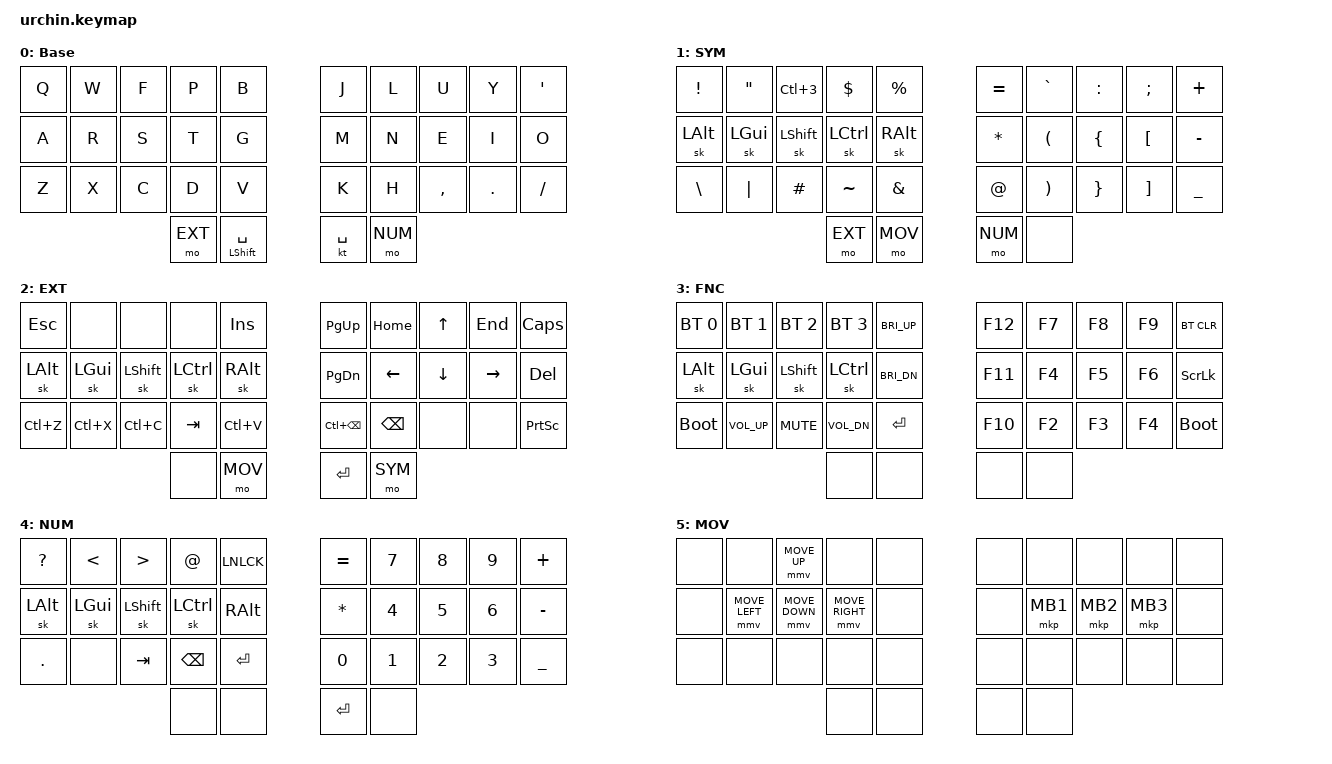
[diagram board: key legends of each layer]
/*
 * Copyright (c) 2020 duckyb
 *
 * SPDX-License-Identifier: MIT
 */

#include <behaviors.dtsi>
#include <dt-bindings/zmk/keys.h>
#include <dt-bindings/zmk/bt.h>
#include <dt-bindings/zmk/outputs.h>

#include <dt-bindings/zmk/mouse.h>

// Layer definitions
#define BASE 0    // ALPHA
#define SYM 1     // SYMBOL PRIMARY
#define EXT 2     // MODIFIERS | MOBILITY
#define FNC 3     // FUNCTIONS
#define NUM 4     // SYMBOL SECONDARY
#define MOV 5     // MOUSE MOVEMENTS


// ----------------------------------------------------------------------------------------------------
// Behaviours 
// ----------------------------------------------------------------------------------------------------

&sk {
	// don't release mods on other mods presses
	ignore-modifiers;
};

/ {
	behaviors {
		// Enables holding the first mod-tap key
		// by performing a tap-release-hold sequence.
		// To use it: "&qt KEYCODE1 KEYCODE2"
		qt: quick_tap {
			compatible = "zmk,behavior-hold-tap";
			label = "QUICK_TAP";
			#binding-cells = <2>;
			flavor = "hold-preferred";
			tapping-term-ms = <200>;
			quick-tap-ms = <200>;
			bindings = <&kp>, <&kp>;
		};
	};

	macros {
		// sometimes my device thinks a modifier is being held down
		// pressing all modifiers fixes it.
		unstick: unstick {
			label = "ZM_unstick";
			compatible = "zmk,behavior-macro";
			#binding-cells = <0>;
			bindings = <&kp LSHIFT &kp RSHIFT &kp LCTRL &kp RCTRL &kp LALT &kp RALT &kp LGUI &kp RGUI>;
		};
	};

	combos {
		compatible = "zmk,combos";
  
		// both left thumb keys
		combo_settings {
			timeout-ms = <200>;
			key-positions = <30 31>;
			bindings = <&mo FNC>;
		};
    
		// both right thumb keys
		combo_accent {
			timeout-ms = <200>;
			key-positions = <32 33>;
			bindings = <&mo SYM>;
		};

		// left-external & right-external thumb keys
		combo_sym2 {
			timeout-ms = <200>;
			key-positions = <30 33>;
			bindings = <&mo MOV>;
		};
	};

// Was in the Combo section
//
//		// left index & middle fingers (home-row)
//		// hold control & space for Adobe workflow
//		combo_ctrl_space {
//			timeout-ms = <200>;
//			key-positions = <12 13>;
//			bindings = <&kp LC(SPACE)>;
//			layers = <BASE>;
//		};


	keymap {
		compatible = "zmk,keymap";
		// Base alpha layer
		default_layer {
			label = "Base";
			bindings = <
//     ╒═════════════╤═════════════╤═════════════╤═════════════╤═════════════╕      ╒═════════════╤═════════════╤═════════════╤═════════════╤═════════════╕ 
			  &kp Q         &kp W         &kp F         &kp P         &kp B                &kp J         &kp L         &kp U         &kp Y         &kp SQT
//     ╞═════════════╪═════════════╪═════════════╪═════════════╪═════════════╡      ╞═════════════╪═════════════╪═════════════╪═════════════╪═════════════╡ 
			  &kp A         &kp R         &kp S         &kp T         &kp G                &kp M         &kp N         &kp E         &kp I         &kp O 
//     ╞═════════════╪═════════════╪═════════════╪═════════════╪═════════════╡      ╞═════════════╪═════════════╪═════════════╪═════════════╪═════════════╡ 
			  &kp Z         &kp X         &kp C         &kp D         &kp V                &kp K         &kp H         &kp COMMA     &kp DOT       &kp SLASH 
//     ╘═════════════╧═════════════╧═════════════╪═════════════╪═════════════╡      ╞═════════════╪═════════════╪═════════════╧═════════════╧═════════════╛ 
	                                                &mo EXT      &mt LSHIFT SPACE      &kt SPACE     &mo NUM
//                                               ╘═════════════╧═════════════╛      ╘═════════════╧═════════════╛ 
			>;
		};

		// Numbers and high frequency symbols
		sym_layer {
			label = "SYM";
			bindings = <
//     ╒═════════════╤═════════════╤═════════════╤═════════════╤═════════════╕      ╒═════════════╤═════════════╤═════════════╤═════════════╤═════════════╕ 
			  &kp EXCL      &kp DQT       &kp LC(N3)    &kp DLLR      &kp PRCNT            &kp EQUAL     &kp GRAVE     &kp COLON     &kp SEMI      &kp PLUS
//     ╞═════════════╪═════════════╪═════════════╪═════════════╪═════════════╡      ╞═════════════╪═════════════╪═════════════╪═════════════╪═════════════╡ 
			  &sk LALT      &sk LGUI      &sk LSHIFT    &sk LCTRL     &sk RALT             &kp STAR      &kp LPAR      &kp LBRC      &kp LBKT      &kp MINUS
//     ╞═════════════╪═════════════╪═════════════╪═════════════╪═════════════╡      ╞═════════════╪═════════════╪═════════════╪═════════════╪═════════════╡ 
			  &kp BSLH      &kp PIPE      &kp HASH      &kp TILDE     &kp AMPS             &kp AT        &kp RPAR      &kp RBRC      &kp RBKT      &kp UNDER
//     ╘═════════════╧═════════════╧═════════════╪═════════════╪═════════════╡      ╞═════════════╪═════════════╪═════════════╧═════════════╧═════════════╛ 
		                                              &mo EXT       &mo MOV              &mo NUM       &none
//                                               ╘═════════════╧═════════════╛      ╘═════════════╧═════════════╛ 
			>;
    };

		// Main modifiers and arrow keys
		ext_layer {
			label = "EXT";
			bindings = <
//     ╒═════════════╤═════════════╤═════════════╤═════════════╤═════════════╕      ╒═════════════╤═════════════╤═════════════╤═════════════╤═════════════╕ 
			  &kp ESC       &none         &none         &none         &kp INS              &kp PG_UP     &kp HOME      &kp UP        &kp END       &kp CAPS 
//     ╞═════════════╪═════════════╪═════════════╪═════════════╪═════════════╡      ╞═════════════╪═════════════╪═════════════╪═════════════╪═════════════╡ 
			  &sk LALT      &sk LGUI      &sk LSHIFT    &sk LCTRL     &sk RALT             &kp PG_DN     &kp LEFT      &kp DOWN      &kp RIGHT     &kp DEL 
//     ╞═════════════╪═════════════╪═════════════╪═════════════╪═════════════╡      ╞═════════════╪═════════════╪═════════════╪═════════════╪═════════════╡ 
			  &kp LC(Z)     &kp LC(X)     &kp LC(C)     &kp TAB       &kp LC(V)            &kp LC(BSPC)  &kp BSPC      &none         &none         &kp PSCRN
//     ╘═════════════╧═════════════╧═════════════╪═════════════╪═════════════╡      ╞═════════════╪═════════════╪═════════════╧═════════════╧═════════════╛ 
		                                              &none         &mo MOV                &kp ENTER     &mo SYM
//                                               ╘═════════════╧═════════════╛      ╘═════════════╧═════════════╛ 
			>;
		};

		// Function keys with modifiers
		fnc_layer {
			label = "FNC";
			bindings = <
//     ╒═════════════╤═════════════╤═════════════╤═════════════╤═════════════╕      ╒═════════════╤═════════════╤═════════════╤═════════════╤═════════════╕ 
        &bt BT_SEL 0  &bt BT_SEL 1  &bt BT_SEL 2  &bt BT_SEL 3  &kp C_BRI_UP         &kp F12       &kp F7        &kp F8        &kp F9        &bt BT_CLR 
//     ╞═════════════╪═════════════╪═════════════╪═════════════╪═════════════╡      ╞═════════════╪═════════════╪═════════════╪═════════════╪═════════════╡ 
			  &sk LALT      &sk LGUI      &sk LSHIFT    &sk LCTRL     &kp C_BRI_DN         &kp F11       &kp F4        &kp F5        &kp F6        &kp SLCK
//     ╞═════════════╪═════════════╪═════════════╪═════════════╪═════════════╡      ╞═════════════╪═════════════╪═════════════╪═════════════╪═════════════╡ 
		    &bootloader   &kp C_VOL_UP  &kp C_MUTE    &kp C_VOL_DN  &kp ENTER            &kp F10       &kp F2        &kp F3        &kp F4        &bootloader
//     ╘═════════════╧═════════════╧═════════════╪═════════════╪═════════════╡      ╞═════════════╪═════════════╪═════════════╧═════════════╧═════════════╛ 
		                                              &none         &none                &none         &none
//                                               ╘═════════════╧═════════════╛      ╘═════════════╧═════════════╛ 
			>;
		};

		num_layer {

			label = "NUM";
      bindings = <
//     ╒═════════════╤═════════════╤═════════════╤═════════════╤═════════════╕      ╒═════════════╤═════════════╤═════════════╤═════════════╤═════════════╕ 
        &kp QMARK     &kp LT        &kp GT        &kp AT        &kp LNLCK            &kp EQUAL     &kp N7        &kp N8        &kp N9        &kp PLUS 
//     ╞═════════════╪═════════════╪═════════════╪═════════════╪═════════════╡      ╞═════════════╪═════════════╪═════════════╪═════════════╪═════════════╡ 
			  &sk LALT      &sk LGUI      &sk LSHIFT    &sk LCTRL     &kp RALT             &kp STAR      &kp N4        &kp N5        &kp N6        &kp MINUS
//     ╞═════════════╪═════════════╪═════════════╪═════════════╪═════════════╡      ╞═════════════╪═════════════╪═════════════╪═════════════╪═════════════╡ 
        &kp DOT       &none         &kp TAB       &kp BSPC      &kp ENTER            &kp N0        &kp N1        &kp N2        &kp N3        &kp UNDER
//     ╘═════════════╧═════════════╧═════════════╪═════════════╪═════════════╡      ╞═════════════╪═════════════╪═════════════╧═════════════╧═════════════╛ 
		                                              &none         &none                &kp ENTER         &none
//                                               ╘═════════════╧═════════════╛      ╘═════════════╧═════════════╛ 
        >;
		};
		

    MOV_layer {
			label = "MOV";
      bindings = <
//     ╒═════════════╤═════════════╤═════════════╤═════════════╤═════════════╕       ╒═════════════╤═════════════╤═════════════╤═════════════╤═════════════╕ 
        &none         &none         &mmv MOVE_UP  &none         &none                 &none         &none         &none         &none         &none 
//     ╞═════════════╪═════════════╪═════════════╪═════════════╪═════════════╡       ╞═════════════╪═════════════╪═════════════╪═════════════╪═════════════╡ 
			  &none        &mmv MOVE_LEFT &mmv MOVE_DOWN &mmv MOVE_RIGHT  &none             &none         &mkp MB1      &mkp MB2      &mkp MB3      &none
//     ╞═════════════╪═════════════╪═════════════╪═════════════╪═════════════╡       ╞═════════════╪═════════════╪═════════════╪═════════════╪═════════════╡ 
        &none         &none         &none         &none         &none                 &none         &none         &none         &none         &none
//     ╘═════════════╧═════════════╧═════════════╪═════════════╪═════════════╡       ╞═════════════╪═════════════╪═════════════╧═════════════╧═════════════╛ 
		                                              &none         &none                 &none         &none
//                                               ╘═════════════╧═════════════╛       ╘═════════════╧═════════════╛ 
        >;
		};
	};
};
